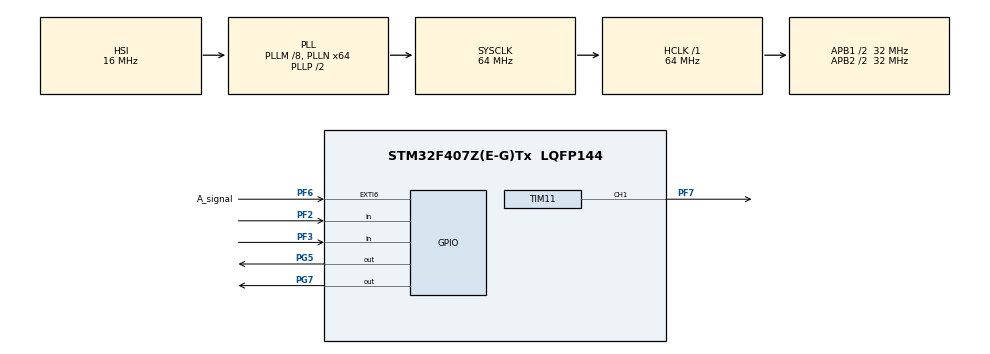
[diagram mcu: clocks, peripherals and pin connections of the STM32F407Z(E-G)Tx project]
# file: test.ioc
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Mcu.Family=STM32F4
Mcu.Name=STM32F407Z(E-G)Tx
Mcu.Package=LQFP144
NVIC.EXTI9_5_IRQn=true\:0\:0\:false\:false\:true\:true\:true\:true
NVIC.PriorityGroup=NVIC_PRIORITYGROUP_4
NVIC.TIM6_DAC_IRQn=true\:0\:0\:false\:false\:true\:true\:true\:true
NVIC.TIM7_IRQn=true\:0\:0\:false\:false\:true\:true\:true\:true
PF2.Signal=GPIO_Input
PF3.Signal=GPIO_Input
PF6.GPIO_Label=A_signal
PF6.Signal=GPXTI6
PF7.Signal=S_TIM11_CH1
PG5.Signal=GPIO_Output
PG7.Signal=GPIO_Output
ProjectManager.HeapSize=0x200
ProjectManager.StackSize=0x400
ProjectManager.TargetToolchain=STM32CubeIDE
RCC.48MHZClocksFreq_Value=32000000
RCC.AHBFreq_Value=64000000
RCC.APB1CLKDivider=RCC_HCLK_DIV2
RCC.APB1Freq_Value=32000000
RCC.APB1TimFreq_Value=64000000
RCC.APB2CLKDivider=RCC_HCLK_DIV2
RCC.APB2Freq_Value=32000000
RCC.APB2TimFreq_Value=64000000
RCC.CortexFreq_Value=64000000
RCC.HCLKFreq_Value=64000000
RCC.HSE_VALUE=25000000
RCC.HSI_VALUE=16000000
RCC.LSE_VALUE=32768
RCC.PLLM=8
RCC.PLLN=64
RCC.SYSCLKFreq_VALUE=64000000
RCC.SYSCLKSource=RCC_SYSCLKSOURCE_PLLCLK
RCC.VCOOutputFreq_Value=128000000
SH.S_TIM11_CH1.0=TIM11_CH1,PWM Generation1 CH1
TIM10.Period=999
TIM10.Prescaler=63
TIM11.AutoReloadPreload=TIM_AUTORELOAD_PRELOAD_ENABLE
TIM11.Channel=TIM_CHANNEL_1
TIM11.Period=1000
TIM11.Prescaler=3
TIM11.Pulse=500
TIM6.Period=65535
TIM6.Prescaler=15999
TIM7.Period=999
TIM7.Prescaler=6399
VP_TIM10_VS_ClockSourceINT.Mode=Enable_Timer
VP_TIM11_VS_ClockSourceINT.Mode=Enable_Timer
VP_TIM6_VS_ClockSourceINT.Mode=Enable_Timer
VP_TIM7_VS_ClockSourceINT.Mode=Enable_Timer
board=custom

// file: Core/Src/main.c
/* USER CODE BEGIN Header */
/**
  ******************************************************************************
  * @file           : main.c
  * @brief          : Main program body
  ******************************************************************************
  * @attention
  *
  * Copyright (c) 2023 STMicroelectronics.
  * All rights reserved.
  *
  * This software is licensed under terms that can be found in the LICENSE file
  * in the root directory of this software component.
  * If no LICENSE file comes with this software, it is provided AS-IS.
  *
  ******************************************************************************
  */
/* USER CODE END Header */
#include "main.h"

TIM_HandleTypeDef htim6;
TIM_HandleTypeDef htim7;
TIM_HandleTypeDef htim10;
TIM_HandleTypeDef htim11;

/* USER CODE BEGIN PV */
int delay_reference=1000;
int delay;
int number_pressed=1;
int statuse;  // 0: idle 1: first  2: second
int t6;
int test_tim7=0;
int number_A=0;
int number_A_sampled=0;
float rpm_t=0;
float rpm1,rpm2;
float k;
float TAU;
enum status{IDLE, K_FIND, TAU_FIND};
enum status state;
/* USER CODE END PV */

void SystemClock_Config(void);
static void MX_GPIO_Init(void);
static void MX_TIM6_Init(void);
static void MX_TIM7_Init(void);
static void MX_TIM11_Init(void);
static void MX_TIM10_Init(void);

int main(void)
{
  /* USER CODE BEGIN 1 */

	// External Interrupt ISR Handler CallBackFun

  /* USER CODE END 1 */

  /* MCU Configuration--------------------------------------------------------*/

  /* Reset of all peripherals, Initializes the Flash interface and the Systick. */
  HAL_Init();

  /* Configure the system clock */
  SystemClock_Config();

  /* Initialize all configured peripherals */
  MX_GPIO_Init();
  MX_TIM6_Init();
  MX_TIM7_Init();
  MX_TIM11_Init();
  MX_TIM10_Init();
  /* USER CODE BEGIN 2 */
  HAL_TIM_Base_Start_IT(&htim7);
  HAL_GPIO_WritePin(GPIOG,GPIO_PIN_7, GPIO_PIN_RESET);

  HAL_TIM_PWM_Start(&htim11, TIM_CHANNEL_1);

  /* USER CODE END 2 */

  /* Infinite loop */
  /* USER CODE BEGIN WHILE */
  while (1)
  {
	  state=IDLE;
	  if(HAL_GPIO_ReadPin(GPIOF,GPIO_PIN_2)){
		  state = K_FIND;
	  }
	  else if(HAL_GPIO_ReadPin(GPIOF,GPIO_PIN_3)){
		  state = TAU_FIND;
	  }

	  TIM11->CCR1=400;
	  rpm1=(number_A_sampled*600)/1024;

	  switch(state)
	  {

	  /*
	  case IDLE:
		  TIM11->CCR1=400;
		  break;
		  */
	  case K_FIND:

		  //TIM11->CCR1=400;
		  //rpm1=(number_A_sampled*600)/1024;
		  TIM11->CCR1=700;
		  HAL_Delay(2000);
		  rpm2=(number_A_sampled*600)/1024;
		  k = (rpm2-rpm1)/((70-40)*12);
		  HAL_Delay(2000);

		  break;

	  case TAU_FIND:

		  TIM11->CCR1=400;
		  HAL_Delay(1000);
		  TIM11->CCR1=700;
		  HAL_TIM_Base_Start(&htim10);

		  while(1){

			  rpm_t = (number_A_sampled*600)/1024;
			  if(rpm_t>=.63*(rpm2-rpm1)){
			  	HAL_TIM_Base_Stop(&htim10);
			  	TAU=__HAL_TIM_GetCounter(&htim10);
			  	break;
		          }

		  }
		  break;
	  }

    /* USER CODE END WHILE */

   }
}

void SystemClock_Config(void)
{
  RCC_OscInitTypeDef RCC_OscInitStruct = {0};
  RCC_ClkInitTypeDef RCC_ClkInitStruct = {0};

  /** Configure the main internal regulator output voltage
  */
  __HAL_RCC_PWR_CLK_ENABLE();
  __HAL_PWR_VOLTAGESCALING_CONFIG(PWR_REGULATOR_VOLTAGE_SCALE1);

  /** Initializes the RCC Oscillators according to the specified parameters
  * in the RCC_OscInitTypeDef structure.
  */
  RCC_OscInitStruct.OscillatorType = RCC_OSCILLATORTYPE_HSI;
  RCC_OscInitStruct.HSIState = RCC_HSI_ON;
  RCC_OscInitStruct.HSICalibrationValue = RCC_HSICALIBRATION_DEFAULT;
  RCC_OscInitStruct.PLL.PLLState = RCC_PLL_ON;
  RCC_OscInitStruct.PLL.PLLSource = RCC_PLLSOURCE_HSI;
  RCC_OscInitStruct.PLL.PLLM = 8;
  RCC_OscInitStruct.PLL.PLLN = 64;
  RCC_OscInitStruct.PLL.PLLP = RCC_PLLP_DIV2;
  RCC_OscInitStruct.PLL.PLLQ = 4;
  if (HAL_RCC_OscConfig(&RCC_OscInitStruct) != HAL_OK)
  {
    Error_Handler();
  }

  /** Initializes the CPU, AHB and APB buses clocks
  */
  RCC_ClkInitStruct.ClockType = RCC_CLOCKTYPE_HCLK|RCC_CLOCKTYPE_SYSCLK
                              |RCC_CLOCKTYPE_PCLK1|RCC_CLOCKTYPE_PCLK2;
  RCC_ClkInitStruct.SYSCLKSource = RCC_SYSCLKSOURCE_PLLCLK;
  RCC_ClkInitStruct.AHBCLKDivider = RCC_SYSCLK_DIV1;
  RCC_ClkInitStruct.APB1CLKDivider = RCC_HCLK_DIV2;
  RCC_ClkInitStruct.APB2CLKDivider = RCC_HCLK_DIV2;

  if (HAL_RCC_ClockConfig(&RCC_ClkInitStruct, FLASH_LATENCY_2) != HAL_OK)
  {
    Error_Handler();
  }
}

static void MX_TIM6_Init(void)
{

  TIM_MasterConfigTypeDef sMasterConfig = {0};

  htim6.Instance = TIM6;
  htim6.Init.Prescaler = 15999;
  htim6.Init.CounterMode = TIM_COUNTERMODE_UP;
  htim6.Init.Period = 65535;
  htim6.Init.AutoReloadPreload = TIM_AUTORELOAD_PRELOAD_DISABLE;
  if (HAL_TIM_Base_Init(&htim6) != HAL_OK)
  {
    Error_Handler();
  }
  sMasterConfig.MasterOutputTrigger = TIM_TRGO_RESET;
  sMasterConfig.MasterSlaveMode = TIM_MASTERSLAVEMODE_DISABLE;
  if (HAL_TIMEx_MasterConfigSynchronization(&htim6, &sMasterConfig) != HAL_OK)
  {
    Error_Handler();
  }

}

static void MX_TIM7_Init(void)
{

  TIM_MasterConfigTypeDef sMasterConfig = {0};

  htim7.Instance = TIM7;
  htim7.Init.Prescaler = 6399;
  htim7.Init.CounterMode = TIM_COUNTERMODE_UP;
  htim7.Init.Period = 999;
  htim7.Init.AutoReloadPreload = TIM_AUTORELOAD_PRELOAD_DISABLE;
  if (HAL_TIM_Base_Init(&htim7) != HAL_OK)
  {
    Error_Handler();
  }
  sMasterConfig.MasterOutputTrigger = TIM_TRGO_RESET;
  sMasterConfig.MasterSlaveMode = TIM_MASTERSLAVEMODE_DISABLE;
  if (HAL_TIMEx_MasterConfigSynchronization(&htim7, &sMasterConfig) != HAL_OK)
  {
    Error_Handler();
  }

}

static void MX_TIM10_Init(void)
{

  htim10.Instance = TIM10;
  htim10.Init.Prescaler = 63;
  htim10.Init.CounterMode = TIM_COUNTERMODE_UP;
  htim10.Init.Period = 999;
  htim10.Init.ClockDivision = TIM_CLOCKDIVISION_DIV1;
  htim10.Init.AutoReloadPreload = TIM_AUTORELOAD_PRELOAD_DISABLE;
  if (HAL_TIM_Base_Init(&htim10) != HAL_OK)
  {
    Error_Handler();
  }

}

static void MX_TIM11_Init(void)
{

  TIM_OC_InitTypeDef sConfigOC = {0};

  htim11.Instance = TIM11;
  htim11.Init.Prescaler = 3;
  htim11.Init.CounterMode = TIM_COUNTERMODE_UP;
  htim11.Init.Period = 1000;
  htim11.Init.ClockDivision = TIM_CLOCKDIVISION_DIV1;
  htim11.Init.AutoReloadPreload = TIM_AUTORELOAD_PRELOAD_ENABLE;
  if (HAL_TIM_Base_Init(&htim11) != HAL_OK)
  {
    Error_Handler();
  }
  if (HAL_TIM_PWM_Init(&htim11) != HAL_OK)
  {
    Error_Handler();
  }
  sConfigOC.OCMode = TIM_OCMODE_PWM1;
  sConfigOC.Pulse = 500;
  sConfigOC.OCPolarity = TIM_OCPOLARITY_HIGH;
  sConfigOC.OCFastMode = TIM_OCFAST_DISABLE;
  if (HAL_TIM_PWM_ConfigChannel(&htim11, &sConfigOC, TIM_CHANNEL_1) != HAL_OK)
  {
    Error_Handler();
  }
  HAL_TIM_MspPostInit(&htim11);

}

static void MX_GPIO_Init(void)
{
  GPIO_InitTypeDef GPIO_InitStruct = {0};

  /* GPIO Ports Clock Enable */
  __HAL_RCC_GPIOF_CLK_ENABLE();
  __HAL_RCC_GPIOG_CLK_ENABLE();

  /*Configure GPIO pin Output Level */
  HAL_GPIO_WritePin(GPIOG, GPIO_PIN_5|GPIO_PIN_7, GPIO_PIN_RESET);

  /*Configure GPIO pins : PF2 PF3 */
  GPIO_InitStruct.Pin = GPIO_PIN_2|GPIO_PIN_3;
  GPIO_InitStruct.Mode = GPIO_MODE_INPUT;
  GPIO_InitStruct.Pull = GPIO_NOPULL;
  HAL_GPIO_Init(GPIOF, &GPIO_InitStruct);

  /*Configure GPIO pin : A_signal_Pin */
  GPIO_InitStruct.Pin = A_signal_Pin;
  GPIO_InitStruct.Mode = GPIO_MODE_IT_RISING;
  GPIO_InitStruct.Pull = GPIO_NOPULL;
  HAL_GPIO_Init(A_signal_GPIO_Port, &GPIO_InitStruct);

  /*Configure GPIO pins : PG5 PG7 */
  GPIO_InitStruct.Pin = GPIO_PIN_5|GPIO_PIN_7;
  GPIO_InitStruct.Mode = GPIO_MODE_OUTPUT_PP;
  GPIO_InitStruct.Pull = GPIO_NOPULL;
  GPIO_InitStruct.Speed = GPIO_SPEED_FREQ_LOW;
  HAL_GPIO_Init(GPIOG, &GPIO_InitStruct);

  /* EXTI interrupt init*/
  HAL_NVIC_SetPriority(EXTI9_5_IRQn, 0, 0);
  HAL_NVIC_EnableIRQ(EXTI9_5_IRQn);

}

/* USER CODE BEGIN 4 */
/*
void HAL_GPIO_EXTI_Callback(uint16_t pin)
{

	if(pin == GPIO_PIN_3){
		statuse+=1;

		 if(statuse==1){
			 __HAL_TIM_SET_COUNTER(&htim6, 0);
			 t6=0;
			 HAL_TIM_Base_Start(&htim6);

		 }else if(statuse==2){
			 HAL_TIM_Base_Stop(&htim6);
			 t6=__HAL_TIM_GetCounter(&htim6);
			 statuse=0;
		 }

	}
}
*/
void HAL_TIM_PeriodElapsedCallback(TIM_HandleTypeDef* htim)
{
	if(htim->Instance==TIM7){
		number_A_sampled=number_A;
		number_A=0;
		}
}

void HAL_GPIO_EXTI_Callback(uint16_t pin)
{
	if(pin == GPIO_PIN_6){
		number_A++;
		 }
}

/* USER CODE END 4 */

void Error_Handler(void)
{
  __disable_irq();
  while (1)
  {
  }
}
